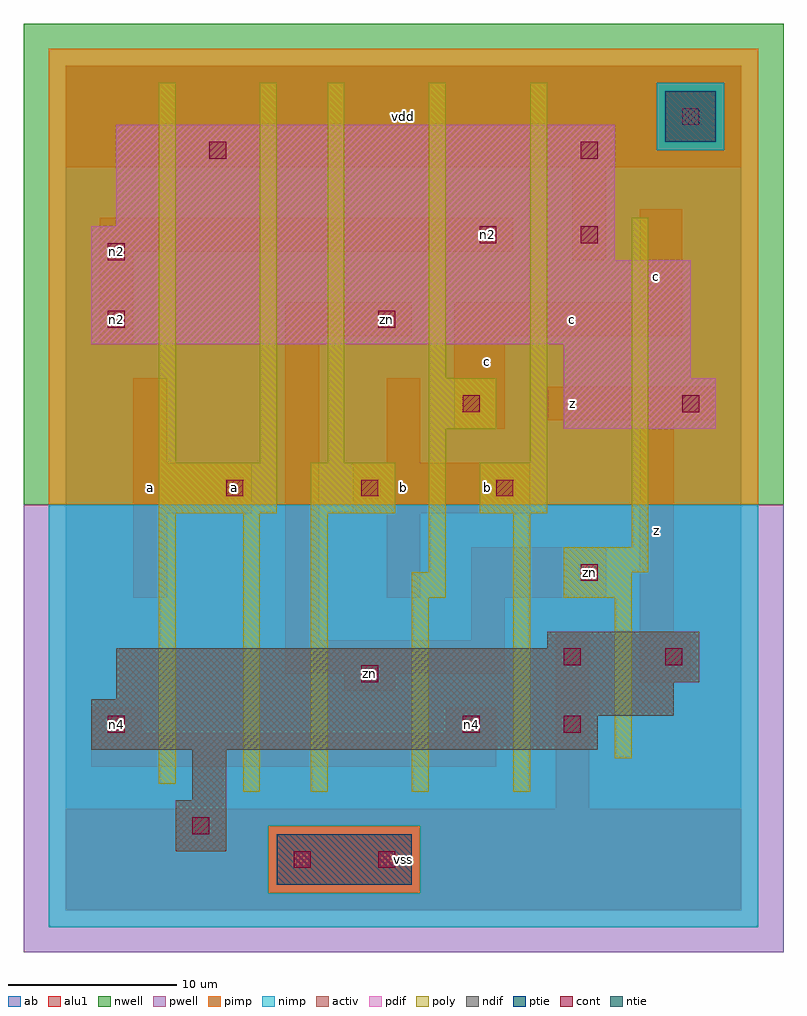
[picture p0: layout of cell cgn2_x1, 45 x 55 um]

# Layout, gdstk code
import gdstk
lib = gdstk.Library(unit=1e-6, precision=1e-09)
def R(c, l, rs):  # rectangles x0, y0, x1, y1
    for r in rs: c.add(gdstk.rectangle(r[:2], r[2:], *l))
def A(c, l, x, y, w, h, nx, ny, dx, dy):  # array of equal rectangles
    R(c, l, [(x+i*dx, y+j*dy, x+i*dx+w, y+j*dy+h) for i in range(nx) for j in range(ny)])
ndif = (3, 0)
pdif = (4, 0)
ntie = (5, 0)
ptie = (6, 0)
cont = (25, 0)
pwell = (41, 0)
nwell = (42, 0)
activ = (43, 0)
pimp = (44, 0)
nimp = (45, 0)
poly = (46, 0)
alu1 = (49, 0)
ab = (63, 0)

cgn2_x1 = lib.new_cell('cgn2_x1')
R(cgn2_x1, ndif, [(6.5,3.5,9.5,6.5), (7.5,6.5,9.5,9.5), (1.5,9.5,31.5,11.5), (1.5,11.5,36,12.5), (3,12.5,36,13.5), (3,13.5,37.5,15.5), (28.5,15.5,37.5,16.5)])
R(cgn2_x1, pdif, [(29.5,28.5,38.5,31.5), (29.5,31.5,37,33.5), (1.5,33.5,37,38.5), (1.5,38.5,32.5,40.5), (3,40.5,32.5,46.5)])
R(cgn2_x1, ntie, [(35.5,45.5,38.5,48.5)])
R(cgn2_x1, ptie, [(12.5,1.5,20.5,4.5)])
A(cgn2_x1, cont, 9.5, 24.5, 1, 1, 3, 1, 8, 0)
R(cgn2_x1, cont, [(13.5,2.5,14.5,3.5), (18.5,2.5,19.5,3.5), (7.5,4.5,8.5,5.5), (2.5,10.5,3.5,11.5), (23.5,10.5,24.5,11.5), (29.5,10.5,30.5,11.5), (17.5,13.5,18.5,14.5), (29.5,14.5,30.5,15.5), (35.5,14.5,36.5,15.5), (30.5,19.5,31.5,20.5), (23.5,29.5,24.5,30.5), (36.5,29.5,37.5,30.5), (2.5,34.5,3.5,35.5), (18.5,34.5,19.5,35.5), (2.5,38.5,3.5,39.5), (24.5,39.5,25.5,40.5), (30.5,39.5,31.5,40.5), (8.5,44.5,9.5,45.5), (30.5,44.5,31.5,45.5), (36.5,46.5,37.5,47.5)])
R(cgn2_x1, pwell, [(-2.5,-2.5,42.5,24)])
R(cgn2_x1, nwell, [(-2.5,24,42.5,52.5)])
R(cgn2_x1, activ, [(12.5,1.5,20.5,4.5), (6.5,3.5,9.5,6.5), (7.5,6.5,9.5,9.5), (1.5,9.5,31.5,11.5), (1.5,11.5,36,12.5), (3,12.5,36,13.5), (3,13.5,37.5,15.5), (28.5,15.5,37.5,16.5), (29.5,28.5,38.5,31.5), (29.5,31.5,37,33.5), (1.5,33.5,37,38.5), (1.5,38.5,32.5,40.5), (3,40.5,32.5,46.5), (35.5,45.5,38.5,48.5)])
R(cgn2_x1, pimp, [(12,1,21,5), (-1,24,41,45), (-1,45,35,49), (39,45,41,49), (-1,49,41,51)])
R(cgn2_x1, nimp, [(-1,-1,41,1), (-1,1,12,5), (21,1,41,5), (-1,5,41,24), (35,45,39,49)])
R(cgn2_x1, poly, [(10.5,7,11.5,23.5), (14.5,7,15.5,23.5), (20.5,7,21.5,18.5), (26.5,7,27.5,23.5), (5.5,7.5,6.5,23.5), (32.5,9,33.5,18.5), (20.5,18.5,22.5,20), (29.5,18.5,33.5,20), (21.5,20,22.5,28.5), (29.5,20,34.5,21.5), (33.5,21.5,34.5,41), (5.5,23.5,12.5,26.5), (14.5,23.5,19.5,26.5), (24.5,23.5,28.5,26.5), (5.5,26.5,6.5,49), (11.5,26.5,12.5,49), (15.5,26.5,16.5,49), (27.5,26.5,28.5,49), (21.5,28.5,25.5,31.5), (21.5,31.5,22.5,49)])
R(cgn2_x1, alu1, [(0,0,40,6), (0,0,40,6), (29,6,31,16.5), (29,6,31,16.5), (1.5,8.5,25.5,10.5), (1.5,8.5,25.5,10.5), (1.5,10.5,4.5,12), (1.5,10.5,4.5,12), (22.5,10.5,25.5,12), (22.5,10.5,25.5,12), (16.5,13,19.5,14), (16.5,13,19.5,14), (34,13.5,37,16.5), (34,13.5,37,16.5), (13,14,26,16), (13,14,26,16), (13,16,15,34), (13,16,15,34), (24,16,26,18.5), (24,16,26,18.5), (34,16.5,36,29), (34,16.5,36,29), (4,18.5,6,23.5), (4,18.5,6,23.5), (19,18.5,21,23.5), (19,18.5,21,23.5), (24,18.5,32,21.5), (24,18.5,32,21.5), (4,23.5,11,26.5), (4,23.5,11,26.5), (17,23.5,27.5,26.5), (17,23.5,27.5,26.5), (4,26.5,6,31.5), (4,26.5,6,31.5), (19,26.5,21,31.5), (19,26.5,21,31.5), (23,28.5,26,34), (23,28.5,26,34), (28.5,29,38.5,31), (28.5,29,38.5,31), (2,33.5,4,39), (2,33.5,4,39), (13,34,20.5,36), (13,34,20.5,36), (23,34,36.5,36), (23,34,36.5,36), (34,36,36.5,41.5), (34,36,36.5,41.5), (30,38.5,32,44), (30,38.5,32,44), (2,39,26.5,41), (2,39,26.5,41), (0,44,40,50), (0,44,40,50)])
R(cgn2_x1, ab, [(0,0,40,50)])
cgn2_x1.add(gdstk.Label('n4', (3,11), layer=49, texttype=0))
cgn2_x1.add(gdstk.Label('n2', (3,35), layer=49, texttype=0))
cgn2_x1.add(gdstk.Label('n2', (3,39), layer=49, texttype=0))
cgn2_x1.add(gdstk.Label('zn', (18,14), layer=49, texttype=0))
cgn2_x1.add(gdstk.Label('n4', (24,11), layer=49, texttype=0))
cgn2_x1.add(gdstk.Label('zn', (19,35), layer=49, texttype=0))
cgn2_x1.add(gdstk.Label('n2', (25,40), layer=49, texttype=0))
cgn2_x1.add(gdstk.Label('zn', (31,20), layer=49, texttype=0))
cgn2_x1.add(gdstk.Label('a', (5,25), layer=49, texttype=0))
cgn2_x1.add(gdstk.Label('a', (10,25), layer=49, texttype=0))
cgn2_x1.add(gdstk.Label('vss', (20,3), layer=49, texttype=0))
cgn2_x1.add(gdstk.Label('b', (25,25), layer=49, texttype=0))
cgn2_x1.add(gdstk.Label('b', (20,25), layer=49, texttype=0))
cgn2_x1.add(gdstk.Label('c', (25,32.5), layer=49, texttype=0))
cgn2_x1.add(gdstk.Label('vdd', (20,47), layer=49, texttype=0))
cgn2_x1.add(gdstk.Label('z', (35,22.5), layer=49, texttype=0))
cgn2_x1.add(gdstk.Label('z', (30,30), layer=49, texttype=0))
cgn2_x1.add(gdstk.Label('c', (30,35), layer=49, texttype=0))
cgn2_x1.add(gdstk.Label('c', (35,37.5), layer=49, texttype=0))

lib.write_gds('cgn2_x1.gds')
